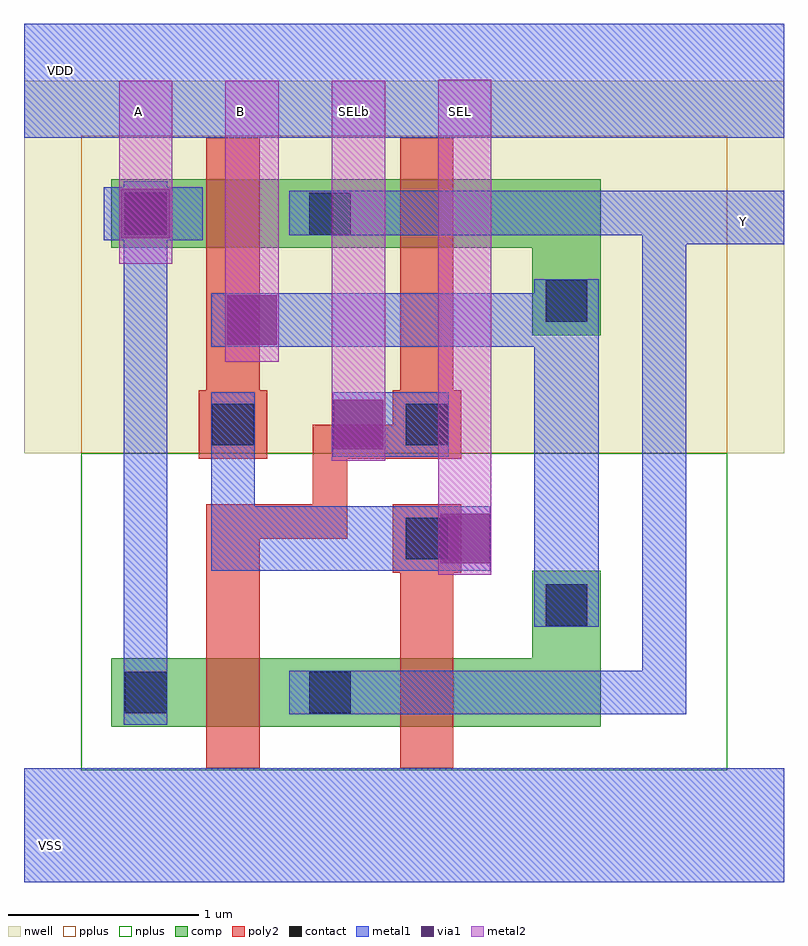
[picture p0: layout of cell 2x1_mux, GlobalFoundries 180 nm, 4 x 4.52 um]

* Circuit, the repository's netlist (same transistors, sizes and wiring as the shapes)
** sch_path: /foss/designs/engn1600-team1/CAD4/2x1_mux.sch
.subckt 2x1_mux A SEL SELb Y VDD VSS B
*.PININFO A:I B:I SEL:I Y:O VDD:B VSS:B SELb:I
M1 Y SEL B VSS nfet_03v3 L=0.28u W=0.36u nf=1 m=1
M2 Y SELb B VDD pfet_03v3 L=0.28u W=0.36u nf=1 m=1
M3 Y SELb A VSS nfet_03v3 L=0.28u W=0.36u nf=1 m=1
M4 Y SEL A VDD pfet_03v3 L=0.28u W=0.36u nf=1 m=1
.ends

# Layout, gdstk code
import gdstk
lib = gdstk.Library(unit=1e-6, precision=5e-09)
def R(c, l, rs):  # rectangles x0, y0, x1, y1
    for r in rs: c.add(gdstk.rectangle(r[:2], r[2:], *l))
nwell = (21, 0)
comp = (22, 0)
poly2 = (30, 0)
pplus = (31, 0)
nplus = (32, 0)
contact = (33, 0)
metal1 = (34, 0)
via1 = (35, 0)
metal2 = (36, 0)

c_2x1_mux = lib.new_cell('2x1_mux')
R(c_2x1_mux, nwell, [(-6.495,-0.22,-2.495,1.74)])
R(c_2x1_mux, comp, [(-6.035,-1.66,-3.46,-1.3), (-3.82,-1.3,-3.46,-0.84), (-3.82,0.4,-3.46,0.86), (-6.035,0.86,-3.46,1.22)])
R(c_2x1_mux, poly2, [(-5.535,-1.88,-5.255,-0.49), (-4.515,-1.88,-4.235,-0.85), (-4.555,-0.85,-4.195,-0.49), (-5.255,-0.67,-4.975,-0.49), (-4.975,-0.67,-4.795,-0.07), (-5.575,-0.25,-5.215,0.11), (-4.795,-0.25,-4.555,-0.07), (-4.555,-0.25,-4.195,0.11), (-5.535,0.11,-5.255,1.44), (-4.515,0.11,-4.235,1.44)])
R(c_2x1_mux, pplus, [(-6.195,-0.22,-2.795,1.45)])
R(c_2x1_mux, nplus, [(-6.195,-1.89,-2.795,-0.22)])
R(c_2x1_mux, contact, [(-5.965,-1.59,-5.745,-1.37), (-4.995,-1.59,-4.775,-1.37), (-3.75,-1.13,-3.53,-0.91), (-4.485,-0.78,-4.265,-0.56), (-5.505,-0.18,-5.285,0.04), (-4.485,-0.18,-4.265,0.04), (-3.75,0.47,-3.53,0.69), (-5.965,0.93,-5.745,1.15), (-4.995,0.93,-4.775,1.15)])
R(c_2x1_mux, metal1, [(-6.495,-2.48,-2.495,-1.88), (-5.97,-1.65,-5.74,1.21), (-5.1,-1.595,-3.01,-1.365), (-3.24,-1.365,-3.01,0.925), (-3.81,-1.135,-3.47,0.695), (-5.51,-0.84,-5.28,0.1), (-5.28,-0.84,-4.04,-0.5), (-4.87,-0.24,-4.26,0.1), (-5.51,0.34,-3.81,0.62), (-3.01,0.88,-2.495,1.16), (-6.075,0.9,-5.555,1.18), (-5.1,0.925,-3.01,1.16), (-6.495,1.44,-2.495,2.04)])
R(c_2x1_mux, via1, [(-4.305,-0.8,-4.045,-0.54), (-4.865,-0.2,-4.605,0.06), (-5.425,0.35,-5.165,0.61), (-5.985,0.91,-5.725,1.17)])
R(c_2x1_mux, metal2, [(-4.315,-0.86,-4.035,1.745), (-4.875,-0.26,-4.595,1.74), (-5.435,0.26,-5.155,1.74), (-5.995,0.775,-5.715,1.74)])
c_2x1_mux.add(gdstk.Label('VDD', (-6.305,1.795), layer=34, texttype=10))
c_2x1_mux.add(gdstk.Label('VSS', (-6.355,-2.285), layer=34, texttype=10))
c_2x1_mux.add(gdstk.Label('Y', (-2.71,1), layer=34, texttype=10))
c_2x1_mux.add(gdstk.Label('SEL', (-4.2,1.58), layer=36, texttype=10))
c_2x1_mux.add(gdstk.Label('SELb', (-4.755,1.58), layer=36, texttype=10))
c_2x1_mux.add(gdstk.Label('A', (-5.89,1.575), layer=36, texttype=10))
c_2x1_mux.add(gdstk.Label('B', (-5.355,1.575), layer=36, texttype=10))

lib.write_gds('2x1_mux.gds')
